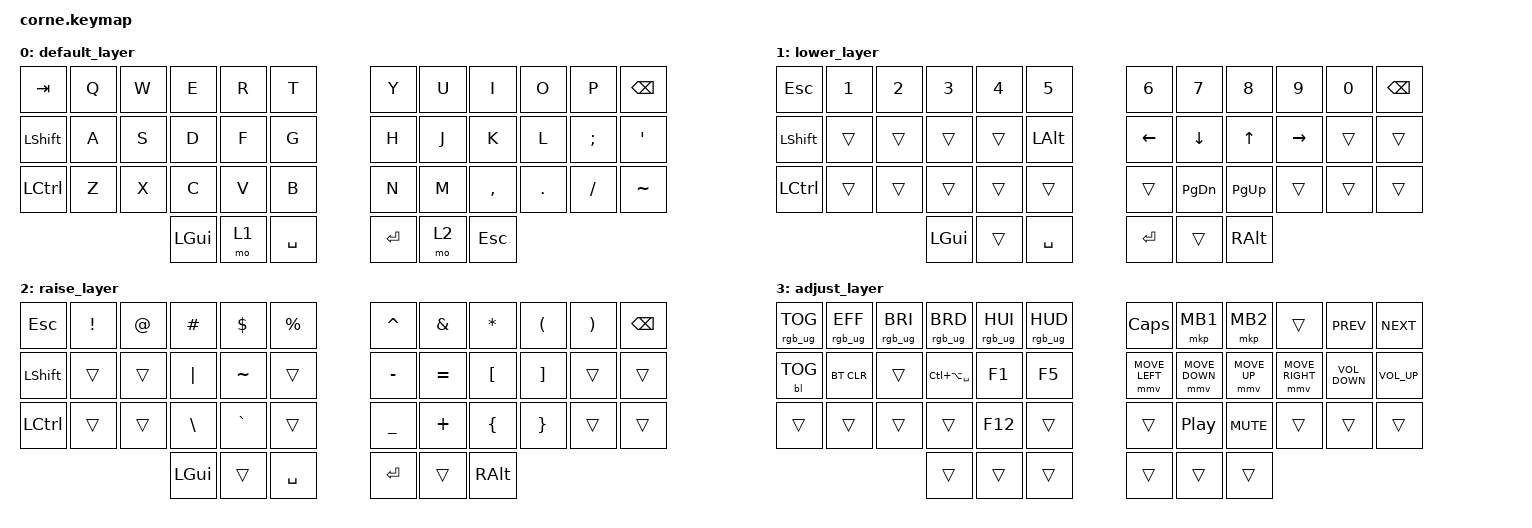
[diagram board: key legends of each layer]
/*
 * Copyright (c) 2020 The ZMK Contributors
 *
 * SPDX-License-Identifier: MIT
 */

#include <behaviors.dtsi>
#include <dt-bindings/zmk/backlight.h>
#include <dt-bindings/zmk/bt.h>
#include <dt-bindings/zmk/keys.h>
#include <dt-bindings/zmk/pointing.h>
#include <dt-bindings/zmk/rgb.h>

/ {
    keymap {
        compatible = "zmk,keymap";

        default_layer {
            // -----------------------------------------------------------------------------------------
            // |  ESC |  Q  |  W  |  E  |  R  |  T  |   |  Y  |  U   |  I  |  O  |  P  | BSPC |
            // | LSHFT |  A  |  S  |  D  |  F  |  G  |   |  H  |  J   |  K  |  L  |  ;  |  '   |
            // | LCTRL |  Z  |  X  |  C  |  V  |  B  |   |  N  |  M   |  ,  |  .  |  /  |  -   |
            //                    | GUI | LWR | SPC |   | ENT | RSE  | TAB |

            bindings = <
&kp TAB    &kp Q  &kp W  &kp E     &kp R  &kp T        &kp Y    &kp U  &kp I       &kp O    &kp P     &kp BSPC
&kp LSHFT  &kp A  &kp S  &kp D     &kp F  &kp G        &kp H    &kp J  &kp K       &kp L    &kp SEMI  &kp SQT
&kp LCTRL  &kp Z  &kp X  &kp C     &kp V  &kp B        &kp N    &kp M  &kp COMMA   &kp DOT  &kp FSLH  &kp TILDE
                         &kp LGUI  &mo 1  &kp SPACE    &kp RET  &mo 2  &kp ESCAPE
            >;
        };

        lower_layer {
            // -----------------------------------------------------------------------------------------
            // |  ESC |  1  |  2  |  3  |  4  |  5  |   |  6  |  7  |  8  |  9  |  0  | BSPC |
            // | LSHFT|     |     |     |     | LALT|   | LFT | DWN |  UP | RGT |     |      |
            // | LCTRL|     |     |     |     |     |   |     |     |     |     |     |      |
            //                    | GUI |     | SPC |   | ENT |     | RALT|

            bindings = <
&kp ESC    &kp N1  &kp N2  &kp N3    &kp N4  &kp N5       &kp N6    &kp N7         &kp N8       &kp N9     &kp N0  &kp BSPC
&kp LSHFT  &trans  &trans  &trans    &trans  &kp LALT     &kp LEFT  &kp DOWN       &kp UP       &kp RIGHT  &trans  &trans
&kp LCTRL  &trans  &trans  &trans    &trans  &trans       &trans    &kp PAGE_DOWN  &kp PAGE_UP  &trans     &trans  &trans
                           &kp LGUI  &trans  &kp SPACE    &kp RET   &trans         &kp RALT
            >;
        };

        raise_layer {
            // -----------------------------------------------------------------------------------------
            // |  ESC |  !  |  @  |  #  |  $  |  %  |   |  ^  |  &  |  (  |  )  |  *  | BSPC |
            // | LSHFT|     |     | "|" |  ~  |     |   |  -  |  =  |  [  |  ]  |     |     |
            // | LCTRL|     |     |  \  |  `  |     |   |  _  |  +  |  {  |  }  |     |     |
            //                    | GUI |     | SPC |   | ENT |     | RALT|

            bindings = <
&kp ESC    &kp EXCL  &kp AT  &kp HASH  &kp DLLR   &kp PRCNT    &kp CARET  &kp AMPS   &kp ASTRK  &kp LPAR  &kp RPAR  &kp BSPC
&kp LSHFT  &trans    &trans  &kp PIPE  &kp TILDE  &trans       &kp MINUS  &kp EQUAL  &kp LBKT   &kp RBKT  &trans    &trans
&kp LCTRL  &trans    &trans  &kp BSLH  &kp GRAVE  &trans       &kp UNDER  &kp PLUS   &kp LBRC   &kp RBRC  &trans    &trans
                             &kp LGUI  &trans     &kp SPACE    &kp RET    &trans     &kp RALT
            >;
        };

        adjust_layer {
            // -----------------------------------------------------------------------------------------
            // |      |     |     |     |     |     |   | CAPS |     |     |     |     |      |
            // |      |     |     |  IN |     |     |   | PREV | VOL-| VOL+| NEXT|     |      |
            // |      |     |     |     |     |     |   |     | PP  | MUTE|     |     |      |
            //                    |     |     |     |   |     |     |     |

            bindings = <
&rgb_ug RGB_TOG  &rgb_ug RGB_EFF  &rgb_ug RGB_BRI  &rgb_ug RGB_BRD    &rgb_ug RGB_HUI  &rgb_ug RGB_HUD    &kp CAPS        &mkp MB1        &mkp MB2      &trans           &kp C_PREV         &kp C_NEXT
&bl BL_TOG       &bt BT_CLR       &trans           &kp LC(LA(SPACE))  &kp F1           &kp F5             &mmv MOVE_LEFT  &mmv MOVE_DOWN  &mmv MOVE_UP  &mmv MOVE_RIGHT  &kp C_VOLUME_DOWN  &kp C_VOLUME_UP
&trans           &trans           &trans           &trans             &kp F12          &trans             &trans          &kp C_PP        &kp C_MUTE    &trans           &trans             &trans
                                                   &trans             &trans           &trans             &trans          &trans          &trans
            >;
        };
    };

    conditional_layers {
        compatible = "zmk,conditional-layers";

        tri_layer {
            if-layers = <1 2>;
            then-layer = <3>;
        };
    };
};
